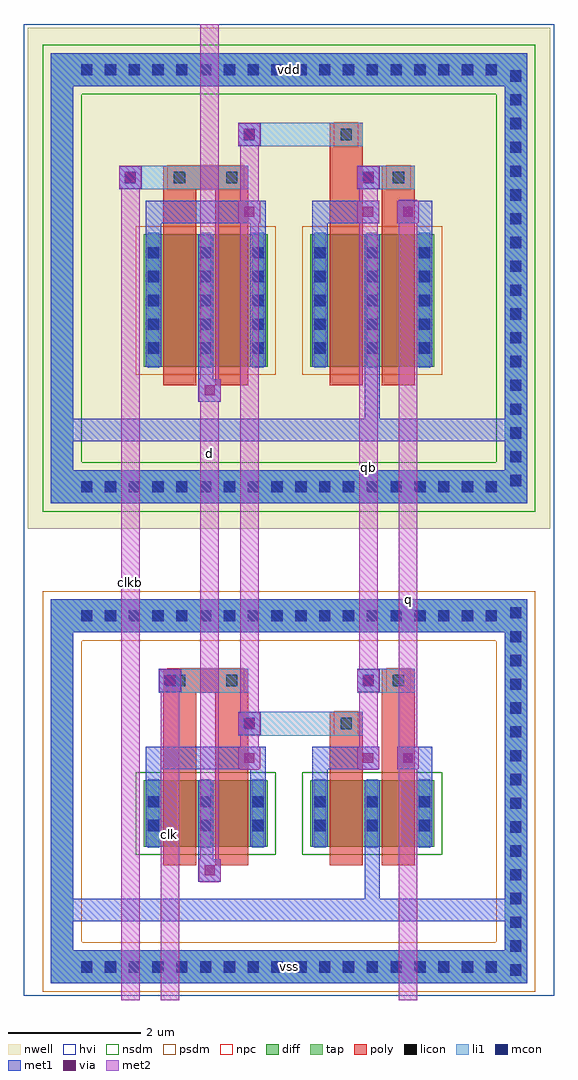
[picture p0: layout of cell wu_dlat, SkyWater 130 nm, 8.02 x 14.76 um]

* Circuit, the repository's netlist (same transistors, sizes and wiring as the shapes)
.subckt wu_dlat d clk clkb q qb vdd vss
MTn s clk d vss nfet_g5v0d10v5 w=2u l=0.5u
MTp s clkb d vdd pfet_g5v0d10v5 w=4u l=0.5u
MI1n qb s vss vss nfet_g5v0d10v5 w=1u l=0.5u
MI1p qb s vdd vdd pfet_g5v0d10v5 w=2u l=0.5u
MI2n q qb vss vss nfet_g5v0d10v5 w=1u l=0.5u
MI2p q qb vdd vdd pfet_g5v0d10v5 w=2u l=0.5u
.ends wu_dlat

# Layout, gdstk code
import gdstk
lib = gdstk.Library(unit=1e-6, precision=1e-09)
def R(c, l, rs):  # rectangles x0, y0, x1, y1
    for r in rs: c.add(gdstk.rectangle(r[:2], r[2:], *l))
def A(c, l, x, y, w, h, nx, ny, dx, dy):  # array of equal rectangles
    R(c, l, [(x+i*dx, y+j*dy, x+i*dx+w, y+j*dy+h) for i in range(nx) for j in range(ny)])
nwell = (64, 20)
diff = (65, 20)
tap = (65, 44)
poly = (66, 20)
licon = (66, 44)
li1 = (67, 20)
mcon = (67, 44)
met1 = (68, 20)
via = (68, 44)
met2 = (69, 20)
hvi = (75, 20)
nsdm = (93, 44)
psdm = (94, 20)
npc = (95, 20)

wu_dlat = lib.new_cell('wu_dlat')
R(wu_dlat, nwell, [(-3.95,7.13,3.95,14.7)])
R(wu_dlat, diff, [(-2.195,2.32,-0.325,3.32), (0.325,2.32,2.195,3.32), (-2.195,9.58,-0.325,11.58), (0.325,9.58,2.195,11.58)])
R(wu_dlat, tap, [(-3.6,0.25,3.6,0.75), (-3.6,0.25,-3.26,6.06), (3.26,0.25,3.6,6.06), (-3.6,5.56,3.6,6.06), (-3.6,7.51,3.6,8.01), (-3.6,7.51,-3.26,14.32), (3.26,7.51,3.6,14.32), (-3.6,13.82,3.6,14.32)])
R(wu_dlat, poly, [(-1.905,2.035,-1.405,3.605), (-1.115,2.035,-0.615,3.605), (0.615,2.035,1.115,3.605), (1.405,2.035,1.905,3.605), (-1.905,3.32,-1.405,4.83), (-1.115,3.32,-0.615,4.83), (0.615,3.32,1.115,4.18), (1.405,3.32,1.905,4.83), (0.615,4,1.115,4.36), (-1.905,4.65,-0.615,5.01), (1.405,4.65,1.905,5.01), (-1.905,9.295,-1.405,11.865), (-1.115,9.295,-0.615,11.865), (0.615,9.295,1.115,11.865), (1.405,9.295,1.905,11.865), (-1.905,11.58,-1.405,12.44), (-1.115,11.58,-0.615,12.44), (0.615,11.58,1.115,13.09), (1.405,11.58,1.905,12.44), (-1.905,12.26,-0.615,12.62), (1.405,12.26,1.905,12.62), (0.615,12.91,1.115,13.27)])
A(wu_dlat, licon, 3.345, 0.37, 0.17, 0.17, 1, 16, 0, 0.36)
A(wu_dlat, licon, -3.145, 0.415, 0.17, 0.17, 18, 2, 0.36, 5.31)
A(wu_dlat, licon, -2.135, 2.555, 0.17, 0.17, 3, 2, 0.79, 0.36)
A(wu_dlat, licon, 0.385, 2.555, 0.17, 0.17, 3, 2, 0.79, 0.36)
A(wu_dlat, licon, -3.145, 7.675, 0.17, 0.17, 18, 2, 0.36, 6.31)
A(wu_dlat, licon, 3.345, 7.77, 0.17, 0.17, 1, 18, 0, 0.36)
A(wu_dlat, licon, -2.135, 9.775, 0.17, 0.17, 3, 5, 0.79, 0.36)
A(wu_dlat, licon, 0.385, 9.775, 0.17, 0.17, 3, 5, 0.79, 0.36)
R(wu_dlat, licon, [(0.78,4.095,0.95,4.265), (-1.74,4.745,-1.57,4.915), (-0.95,4.745,-0.78,4.915), (1.57,4.745,1.74,4.915), (-1.74,12.355,-1.57,12.525), (-0.95,12.355,-0.78,12.525), (1.57,12.355,1.74,12.525), (0.78,13.005,0.95,13.175)])
A(wu_dlat, li1, -2.135, 2.3, 0.17, 1.04, 3, 1, 0.79, 0)
A(wu_dlat, li1, 0.385, 2.3, 0.17, 1.04, 3, 1, 0.79, 0)
A(wu_dlat, li1, -2.135, 9.56, 0.17, 2.04, 3, 1, 0.79, 0)
A(wu_dlat, li1, 0.385, 9.56, 0.17, 2.04, 3, 1, 0.79, 0)
R(wu_dlat, li1, [(-3.6,0.25,3.6,0.75), (-3.6,0.25,-3.26,6.06), (3.26,0.25,3.6,6.06), (-0.77,4,1.115,4.36), (-1.97,4.65,-0.615,5.01), (1.03,4.65,1.905,5.01), (-3.6,5.56,3.6,6.06), (-3.6,7.51,3.6,8.01), (-3.6,7.51,-3.26,14.32), (3.26,7.51,3.6,14.32), (-2.57,12.26,-0.615,12.62), (1.03,12.26,1.905,12.62), (-0.77,12.91,1.115,13.27), (-3.6,13.82,3.6,14.32)])
A(wu_dlat, mcon, 3.345, 0.37, 0.17, 0.17, 1, 16, 0, 0.36)
A(wu_dlat, mcon, -3.145, 0.415, 0.17, 0.17, 18, 2, 0.36, 5.31)
A(wu_dlat, mcon, -2.135, 2.555, 0.17, 0.17, 3, 2, 0.79, 0.36)
A(wu_dlat, mcon, 0.385, 2.555, 0.17, 0.17, 3, 2, 0.79, 0.36)
A(wu_dlat, mcon, -3.145, 7.675, 0.17, 0.17, 18, 2, 0.36, 6.31)
A(wu_dlat, mcon, 3.345, 7.77, 0.17, 0.17, 1, 18, 0, 0.36)
A(wu_dlat, mcon, -2.135, 9.775, 0.17, 0.17, 3, 5, 0.79, 0.36)
A(wu_dlat, mcon, 0.385, 9.775, 0.17, 0.17, 3, 5, 0.79, 0.36)
R(wu_dlat, mcon, [(-0.685,4.095,-0.515,4.265), (-1.885,4.745,-1.715,4.915), (1.115,4.745,1.285,4.915), (-2.485,12.355,-2.315,12.525), (1.115,12.355,1.285,12.525), (-0.685,13.005,-0.515,13.175)])
A(wu_dlat, met1, -2.165, 2.32, 0.23, 1, 3, 1, 0.79, 0)
A(wu_dlat, met1, 0.355, 2.32, 0.23, 1, 3, 1, 0.79, 0)
A(wu_dlat, met1, -2.165, 9.58, 0.23, 2, 3, 1, 0.79, 0)
A(wu_dlat, met1, 0.355, 9.58, 0.23, 2, 3, 1, 0.79, 0)
R(wu_dlat, met1, [(-3.6,0.25,3.6,0.75), (-3.6,0.25,-3.26,6.06), (3.26,0.25,3.6,6.06), (-3.43,1.19,3.43,1.53), (1.145,1.19,1.375,2.32), (-1.375,1.79,-1.145,2.32), (-1.375,1.79,-1.035,2.13), (-1.365,1.795,-1.035,2.125), (-2.165,3.32,-1.935,3.83), (-0.585,3.32,-0.355,3.83), (0.355,3.32,0.585,3.83), (1.935,3.32,2.165,3.83), (-2.165,3.49,-0.355,3.83), (0.355,3.49,1.365,3.83), (1.635,3.49,2.165,3.83), (-0.765,3.495,-0.435,3.825), (1.035,3.495,1.365,3.825), (1.635,3.495,1.965,3.825), (-0.77,4.01,-0.43,4.35), (-1.97,4.66,-1.63,5), (1.03,4.66,1.37,5), (-3.6,5.56,3.6,6.06), (-3.6,7.51,3.6,8.01), (-3.6,7.51,-3.26,14.32), (3.26,7.51,3.6,14.32), (-3.43,8.45,3.43,8.79), (1.145,8.45,1.375,9.58), (-1.375,9.05,-1.145,9.58), (-1.375,9.05,-1.035,9.39), (-1.365,9.055,-1.035,9.385), (-2.165,11.58,-1.935,12.09), (-0.585,11.58,-0.355,12.09), (0.355,11.58,0.585,12.09), (1.935,11.58,2.165,12.09), (-2.165,11.75,-0.355,12.09), (0.355,11.75,1.365,12.09), (1.635,11.75,2.165,12.09), (-0.765,11.755,-0.435,12.085), (1.035,11.755,1.365,12.085), (1.635,11.755,1.965,12.085), (-2.57,12.27,-2.23,12.61), (1.03,12.27,1.37,12.61), (-0.77,12.92,-0.43,13.26), (-3.6,13.82,3.6,14.32)])
R(wu_dlat, via, [(-1.275,1.885,-1.125,2.035), (-0.675,3.585,-0.525,3.735), (1.125,3.585,1.275,3.735), (1.725,3.585,1.875,3.735), (-0.675,4.105,-0.525,4.255), (-1.875,4.755,-1.725,4.905), (1.125,4.755,1.275,4.905), (-1.275,9.145,-1.125,9.295), (-0.675,11.845,-0.525,11.995), (1.125,11.845,1.275,11.995), (1.725,11.845,1.875,11.995), (-2.475,12.365,-2.325,12.515), (1.125,12.365,1.275,12.515), (-0.675,13.015,-0.525,13.165)])
R(wu_dlat, met2, [(-2.54,0,-2.26,12.62), (-1.94,0,-1.66,5.01), (1.66,0,1.94,12.1), (-1.34,1.78,-1.06,14.76), (-1.365,1.795,-1.035,2.125), (-0.74,3.48,-0.46,13.27), (1.06,3.48,1.34,12.62), (-0.765,3.495,-0.435,3.825), (1.035,3.495,1.365,3.825), (1.635,3.495,1.965,3.825), (-0.765,4.015,-0.435,4.345), (-1.965,4.665,-1.635,4.995), (1.035,4.665,1.365,4.995), (-1.365,9.055,-1.035,9.385), (-0.765,11.755,-0.435,12.085), (1.035,11.755,1.365,12.085), (1.635,11.755,1.965,12.085), (-2.565,12.275,-2.235,12.605), (1.035,12.275,1.365,12.605), (-0.765,12.925,-0.435,13.255)])
R(wu_dlat, hvi, [(-4.01,0.065,4.01,14.76)])
R(wu_dlat, nsdm, [(-2.32,2.195,-0.2,3.445), (0.2,2.195,2.32,3.445), (-3.725,7.385,3.725,8.135), (-3.725,7.385,-3.135,14.445), (3.135,7.385,3.725,14.445), (-3.725,13.695,3.725,14.445)])
R(wu_dlat, psdm, [(-3.725,0.125,3.725,0.875), (-3.725,0.125,-3.135,6.185), (3.135,0.125,3.725,6.185), (-3.725,5.435,3.725,6.185), (-2.32,9.455,-0.2,11.705), (0.2,9.455,2.32,11.705)])
R(wu_dlat, npc, [(0.68,3.995,1.05,4.365), (-1.84,4.645,-0.68,5.015), (1.47,4.645,1.84,5.015), (-1.84,12.255,-0.68,12.625), (1.47,12.255,1.84,12.625), (0.68,12.905,1.05,13.275)])
wu_dlat.add(gdstk.Label('vdd', (0,14.07), layer=68, texttype=5))
wu_dlat.add(gdstk.Label('vss', (0,0.5), layer=68, texttype=5))
wu_dlat.add(gdstk.Label('d', (-1.2,8.27), layer=69, texttype=5))
wu_dlat.add(gdstk.Label('clk', (-1.8,2.505), layer=69, texttype=5))
wu_dlat.add(gdstk.Label('clkb', (-2.4,6.31), layer=69, texttype=5))
wu_dlat.add(gdstk.Label('q', (1.8,6.05), layer=69, texttype=5))
wu_dlat.add(gdstk.Label('qb', (1.2,8.05), layer=69, texttype=5))

lib.write_gds('wu_dlat.gds')
